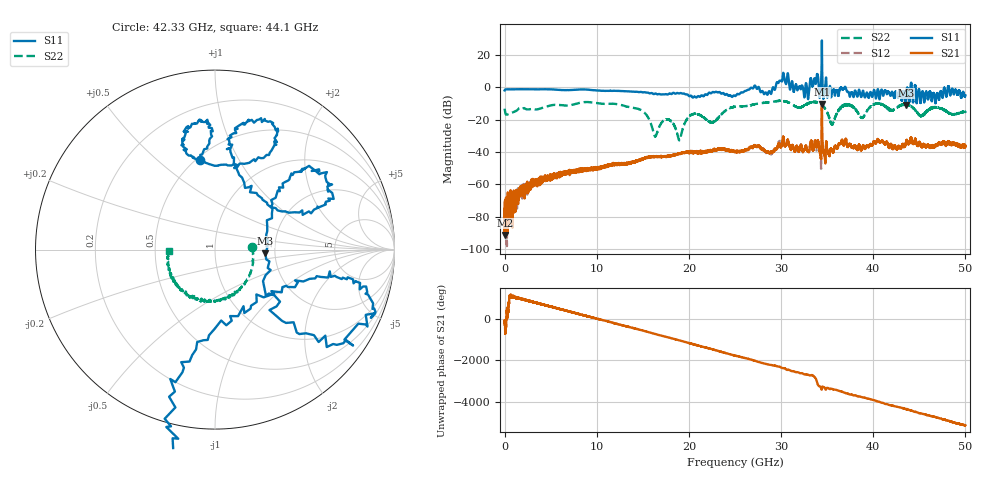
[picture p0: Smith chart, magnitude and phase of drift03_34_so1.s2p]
!Created with skrf (http://scikit-rf.org).
# Hz S RI R 50.0
!freq ReS11 ImS11 ReS21 ImS21 ReS12 ImS12 ReS22 ImS22
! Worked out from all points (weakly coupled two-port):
!   10000 points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, 5.3 MHz to 50 GHz, reference 50 ohm
!   highest |S21| = -10.48 dB at 34.43 GHz (marker M1); lowest = -91.0 dB at 10.3 MHz (marker M2)
!   lowest |S11| = -11.0 dB at 43.53 GHz (marker M3), VSWR 1.78, Z = 88.9 - j3.86 ohm
!   |S11| at or under -10 dB: 43.49445 GHz to 43.54139 GHz (46.94 MHz wide, 0.108 % of centre); 43.54996 GHz to 43.55031 GHz (346 kHz wide, 0.000794 % of centre); 46.74919 GHz to 46.75034 GHz (1.15 MHz wide, 0.00246 % of centre)
!   |S22| runs from -32.8 to -8.4 dB; largest |S21 - S12| = 0.091
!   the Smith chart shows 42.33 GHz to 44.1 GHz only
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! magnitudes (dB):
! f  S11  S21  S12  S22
! 5.3 MHz  -2.1  -75.0  -70.9  -13.3
! 10.3 MHz  -2.1  -91.0  -82.0  -13.4
! 3.115 GHz  -1.4  -60.8  -58.5  -13.5
! 8.34 GHz  -1.5  -51.5  -50.8  -9.5
! 14.55 GHz  -3.1  -45.2  -45.1  -13.5
! 16.67 GHz  -4.4  -43.1  -42.9  -26.1
! 17.8 GHz  -4.2  -42.6  -42.8  -20.1
! 18.98 GHz  -3.9  -41.1  -41.0  -32.7
! 20.28 GHz  -5.5  -39.7  -39.9  -17.1
! 22.58 GHz  -3.1  -38.9  -39.0  -21.7
! 25.01 GHz  -5.5  -39.5  -40.0  -12.1
! 28.72 GHz  -2.5  -40.5  -40.3  -9.4
! 30.14 GHz  4.3  -34.1  -33.8  -8.5
! 32.74 GHz  2.0  -36.8  -36.7  -10.6
! 33.34 GHz  2.5  -34.8  -35.2  -9.3
! 34.43 GHz  28.7  -10.5  -13.0  -10.9
! 35.53 GHz  -3.3  -38.8  -39.0  -22.9
! 36.95 GHz  0.1  -32.9  -33.3  -11.5
! 38.77 GHz  -5.2  -38.0  -38.0  -19.0
! 41.67 GHz  -3.0  -37.2  -36.8  -13.4
! 43.53 GHz  -11.0  -34.9  -34.9  -10.7
! 50 GHz  -5.2  -36.3  -36.1  -15.5
